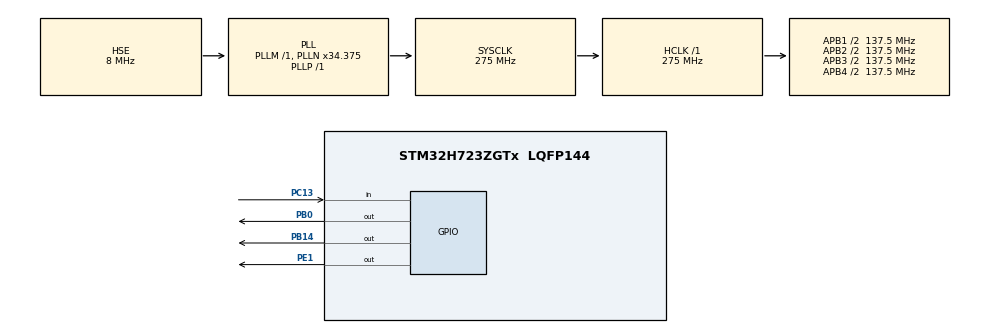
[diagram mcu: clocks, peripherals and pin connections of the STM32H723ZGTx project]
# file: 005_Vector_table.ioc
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CORTEX_M7.default_mode_Activation=1
Mcu.Family=STM32H7
Mcu.Name=STM32H723ZGTx
Mcu.Package=LQFP144
NUCLEO-H723ZG.BUTTON=1
NUCLEO-H723ZG.LD1=true
NUCLEO-H723ZG.LD2=true
NUCLEO-H723ZG.LD3=true
NUCLEO-H723ZG.VCP=true
NVIC.EXTI15_10_IRQn=true\:0\:0\:false\:false\:true\:false\:true\:true
NVIC.PriorityGroup=NVIC_PRIORITYGROUP_4
PA13(JTMS/SWDIO).GPIO_Label=SWDIO
PA13(JTMS/SWDIO).Signal=DEBUG_JTMS-SWDIO
PA14(JTCK/SWCLK).GPIO_Label=SWCLK
PA14(JTCK/SWCLK).Signal=DEBUG_JTCK-SWCLK
PB0.Signal=GPIO_Output
PB14.Signal=GPIO_Output
PC13.Signal=GPIO_Input
PC14-OSC32_IN.Signal=RCC_OSC32_IN
PC15-OSC32_OUT.Signal=RCC_OSC32_OUT
PD8.Signal=USART3_TX
PD9.Signal=USART3_RX
PE1.Signal=GPIO_Output
PH0-OSC_IN.Mode=HSE-External-Oscillator
PH0-OSC_IN.Signal=RCC_OSC_IN
PH1-OSC_OUT.Mode=HSE-External-Oscillator
PH1-OSC_OUT.Signal=RCC_OSC_OUT
ProjectManager.HeapSize=0x200
ProjectManager.StackSize=0x400
ProjectManager.TargetToolchain=STM32CubeIDE
RCC.ADCFreq_Value=76000000
RCC.APB1Freq_Value=137500000
RCC.APB2Freq_Value=137500000
RCC.APB3Freq_Value=137500000
RCC.APB4Freq_Value=137500000
RCC.CortexFreq_Value=275000000
RCC.D1PPRE=RCC_APB3_DIV2
RCC.D2PPRE1=RCC_APB1_DIV2
RCC.D2PPRE2=RCC_APB2_DIV2
RCC.D3PPRE=RCC_APB4_DIV2
RCC.DIVM1=1
RCC.DIVM2=1
RCC.DIVN1=34
RCC.DIVN2=19
RCC.DIVP1=1
RCC.DIVQ1=4
RCC.HCLKFreq_Value=275000000
RCC.HSE_VALUE=8000000
RCC.PLL2FRACN=0
RCC.PLL3FRACN=0
RCC.PLLFRACN=3072
RCC.PLLSourceVirtual=RCC_PLLSOURCE_HSE
RCC.SYSCLKFreq_VALUE=275000000
RCC.SYSCLKSource=RCC_SYSCLKSOURCE_PLLCLK
RCC.USBCLockSelection=RCC_USBCLKSOURCE_HSI48
RCC.USBFreq_Value=48000000
VP_MEMORYMAP_VS_MEMORYMAP.Mode=CurAppReg
VP_NUCLEO-H723ZG_VS_BSP_COMMON.Mode=COMMON
board=NUCLEO-H723ZG

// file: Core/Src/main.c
/* USER CODE BEGIN Header */
/**
  ******************************************************************************
  * @file           : main.c
  * @brief          : Main program body
  ******************************************************************************
  * @attention
  *
  * Copyright (c) 2025 STMicroelectronics.
  * All rights reserved.
  *
  * This software is licensed under terms that can be found in the LICENSE file
  * in the root directory of this software component.
  * If no LICENSE file comes with this software, it is provided AS-IS.
  *
  ******************************************************************************
  */
/* USER CODE END Header */
#include "main.h"

COM_InitTypeDef BspCOMInit;

void SystemClock_Config(void);
static void MPU_Config(void);
static void MX_GPIO_Init(void);

/* USER CODE BEGIN 0 */
typedef struct __attribute__((aligned(512), packed)) __vectable_t{

	/*****  Cortex-M Processor Exceptions Numbers *****************************************************************/

	uint32_t _estcak;
	uint32_t Reset_Handler;
	uint32_t NMI_Handler;			 /*!< 2 Non Maskable Interrupt  */
	uint32_t HardFault_Handler; 	/*!< 3 Cortex-M Hard Fault Interrupt*/
	uint32_t MemManage_Handler; 	/*!< 4 Cortex-M Memory Management Interrupt  */
	uint32_t BusFault_Handler; 		/*!< 5 Cortex-M Bus Fault Interrupt*/
	uint32_t UsageFault_Handler; 	/*!< 6 Cortex-M Usage Fault Interrupt */
	uint32_t reserved_1;
	uint32_t reserved_2;
	uint32_t reserved_3;
	uint32_t reserved_4;
	uint32_t SVC_Handler; 			/*!< 11 Cortex-M SV Call Interrupt */
	uint32_t DebugMon_Handler; 		/*!< 12 Cortex-M Debug Monitor Interrupt*/
	uint32_t reserved_5;
	uint32_t PendSV_Handler; 		/*!< 14 Cortex-M Pend SV Interrupt*/
	uint32_t SysTick_Handler; 		/*!< 15 Cortex-M System Tick Interrupt  */

	/******  STM32 specific Interrupt Numbers **********************************************************************/

	  uint32_t     WWDG_IRQHandler    ;                /* Window WatchDog              */
	  uint32_t     PVD_AVD_IRQHandler  ;               /* PVD/AVD through EXTI Line detection */
	  uint32_t     TAMP_STAMP_IRQHandler ;             /* Tamper and TimeStamps through the EXTI line */
	  uint32_t     RTC_WKUP_IRQHandler;                /* RTC Wakeup through the EXTI line */
	  uint32_t     FLASH_IRQHandler;                   /* FLASH                        */
	  uint32_t     RCC_IRQHandler   ;                  /* RCC                          */
	  uint32_t     EXTI0_IRQHandler ;                  /* EXTI Line0                   */
	  uint32_t     EXTI1_IRQHandler ;                  /* EXTI Line1                   */
	  uint32_t     EXTI2_IRQHandler  ;                 /* EXTI Line2                   */
	  uint32_t     EXTI3_IRQHandler ;                  /* EXTI Line3                   */
	  uint32_t     EXTI4_IRQHandler ;                  /* EXTI Line4                   */
	  uint32_t     DMA1_Stream0_IRQHandler ;           /* DMA1 Stream 0                */
	  uint32_t     DMA1_Stream1_IRQHandler ;           /* DMA1 Stream 1                */
	  uint32_t     DMA1_Stream2_IRQHandler ;           /* DMA1 Stream 2                */
	  uint32_t     DMA1_Stream3_IRQHandler ;           /* DMA1 Stream 3                */
	  uint32_t     DMA1_Stream4_IRQHandler ;           /* DMA1 Stream 4                */
	  uint32_t     DMA1_Stream5_IRQHandler;            /* DMA1 Stream 5                */
	  uint32_t     DMA1_Stream6_IRQHandler;            /* DMA1 Stream 6                */
	  uint32_t     ADC_IRQHandler  ;                   /* ADC1, ADC2 and ADC3s         */
	  uint32_t     FDCAN1_IT0_IRQHandler ;             /* FDCAN1 interrupt line 0      */
	  uint32_t     FDCAN2_IT0_IRQHandler ;             /* FDCAN2 interrupt line 0      */
	  uint32_t     FDCAN1_IT1_IRQHandler ;             /* FDCAN1 interrupt line 1      */
	  uint32_t     FDCAN2_IT1_IRQHandler ;             /* FDCAN2 interrupt line 1      */
	  uint32_t     EXTI9_5_IRQHandler  ;               /* External Line[9:5]s          */
	  uint32_t     TIM1_BRK_IRQHandler ;               /* TIM1 Break interrupt         */
	  uint32_t     TIM1_UP_IRQHandler ;                /* TIM1 Update interrupt        */
	  uint32_t     TIM1_TRG_COM_IRQHandler;            /* TIM1 Trigger and Commutation interrupt */
	  uint32_t     TIM1_CC_IRQHandler  ;               /* TIM1 Capture Compare         */
	  uint32_t     TIM2_IRQHandler  ;                  /* TIM2                         */
	  uint32_t     TIM3_IRQHandler  ;                  /* TIM3                         */
	  uint32_t     TIM4_IRQHandler ;                   /* TIM4                         */
	  uint32_t     I2C1_EV_IRQHandler ;                /* I2C1 Event                   */
	  uint32_t     I2C1_ER_IRQHandler ;                /* I2C1 Error                   */
	  uint32_t     I2C2_EV_IRQHandler ;                /* I2C2 Event                   */
	  uint32_t     I2C2_ER_IRQHandler ;                /* I2C2 Error                   */
	  uint32_t     SPI1_IRQHandler   ;                 /* SPI1                         */
	  uint32_t     SPI2_IRQHandler  ;                  /* SPI2                         */
	  uint32_t     USART1_IRQHandler ;                 /* USART1                       */
	  uint32_t     USART2_IRQHandler ;                 /* USART2                       */
	  uint32_t     USART3_IRQHandler  ;                /* USART3                       */
	  uint32_t     EXTI15_10_IRQHandler;               /* External Line[15:10]s        */
	  uint32_t     RTC_Alarm_IRQHandler  ;             /* RTC Alarm (A and B) through EXTI Line */
	  uint32_t     reserved_6            ;          /* Reserved                     */
	  uint32_t     TIM8_BRK_TIM12_IRQHandler  ;        /* TIM8 Break and TIM12         */
	  uint32_t     TIM8_UP_TIM13_IRQHandler ;          /* TIM8 Update and TIM13        */
	  uint32_t     TIM8_TRG_COM_TIM14_IRQHandler ;     /* TIM8 Trigger and Commutation and TIM14 */
	  uint32_t     TIM8_CC_IRQHandler    ;             /* TIM8 Capture Compare         */
	  uint32_t     DMA1_Stream7_IRQHandler;            /* DMA1 Stream7                 */
	  uint32_t     FMC_IRQHandler    ;                 /* FMC                          */
	  uint32_t     SDMMC1_IRQHandler ;                 /* SDMMC1                       */
	  uint32_t     TIM5_IRQHandler  ;                  /* TIM5                         */
	  uint32_t     SPI3_IRQHandler  ;                  /* SPI3                         */
	  uint32_t     UART4_IRQHandler ;                  /* UART4                        */
	  uint32_t     UART5_IRQHandler ;                  /* UART5                        */
	  uint32_t     TIM6_DAC_IRQHandler;               /* TIM6 and DAC1&2 underrun errors */
	  uint32_t     TIM7_IRQHandler      ;              /* TIM7                         */
	  uint32_t     DMA2_Stream0_IRQHandler ;          /* DMA2 Stream 0                */
	  uint32_t     DMA2_Stream1_IRQHandler ;           /* DMA2 Stream 1                */
	  uint32_t     DMA2_Stream2_IRQHandler ;           /* DMA2 Stream 2                */
	  uint32_t     DMA2_Stream3_IRQHandler   ;         /* DMA2 Stream 3                */
	  uint32_t     DMA2_Stream4_IRQHandler ;           /* DMA2 Stream 4                */
	  uint32_t     ETH_IRQHandler     ;                /* Ethernet                     */
	  uint32_t     ETH_WKUP_IRQHandler  ;              /* Ethernet Wakeup through EXTI line */
	  uint32_t     FDCAN_CAL_IRQHandler ;              /* FDCAN calibration unit interrupt*/
	  uint32_t     reserved_7     ;                             /* Reserved                     */
	  uint32_t     reserved_8   ;                               /* Reserved                     */
	  uint32_t     reserved_9   ;                              /* Reserved                     */
	  uint32_t     reserved_10    ;                              /* Reserved                     */
	  uint32_t     DMA2_Stream5_IRQHandler  ;          /* DMA2 Stream 5                */
	  uint32_t     DMA2_Stream6_IRQHandler ;           /* DMA2 Stream 6                */
	  uint32_t     DMA2_Stream7_IRQHandler   ;         /* DMA2 Stream 7                */
	  uint32_t     USART6_IRQHandler   ;               /* USART6                       */
	  uint32_t     I2C3_EV_IRQHandler ;                /* I2C3 event                   */
	  uint32_t     I2C3_ER_IRQHandler ;                /* I2C3 error                   */
	  uint32_t     OTG_HS_EP1_OUT_IRQHandler   ;       /* USB OTG HS End Point 1 Out   */
	  uint32_t     OTG_HS_EP1_IN_IRQHandler  ;         /* USB OTG HS End Point 1 In    */
	  uint32_t     OTG_HS_WKUP_IRQHandler   ;          /* USB OTG HS Wakeup through EXTI */
	  uint32_t     OTG_HS_IRQHandler    ;              /* USB OTG HS                   */
	  uint32_t     DCMI_PSSI_IRQHandler ;              /* DCMI, PSSI                   */
	  uint32_t     reserved_11     ;                             /* Reserved                     */
	  uint32_t     RNG_IRQHandler   ;                  /* Rng                          */
	  uint32_t     FPU_IRQHandler  ;                   /* FPU                          */
	  uint32_t     UART7_IRQHandler ;                  /* UART7                        */
	  uint32_t     UART8_IRQHandler ;                  /* UART8                        */
	  uint32_t     SPI4_IRQHandler ;                   /* SPI4                         */
	  uint32_t     SPI5_IRQHandler ;                   /* SPI5                         */
	  uint32_t     SPI6_IRQHandler  ;                  /* SPI6                         */
	  uint32_t     SAI1_IRQHandler ;                   /* SAI1                         */
	  uint32_t     LTDC_IRQHandler  ;                  /* LTDC                         */
	  uint32_t     LTDC_ER_IRQHandler;                 /* LTDC error                   */
	  uint32_t     DMA2D_IRQHandler  ;                 /* DMA2D                        */
	  uint32_t     reserved_12       ;                           /* Reserved                     */
	  uint32_t     OCTOSPI1_IRQHandler;                /* OCTOSPI1                     */
	  uint32_t     LPTIM1_IRQHandler;                  /* LPTIM1                       */
	  uint32_t     CEC_IRQHandler  ;                   /* HDMI_CEC                     */
	  uint32_t     I2C4_EV_IRQHandler;                /* I2C4 Event                   */
	  uint32_t     I2C4_ER_IRQHandler;                 /* I2C4 Error                   */
	  uint32_t     SPDIF_RX_IRQHandler   ;             /* SPDIF_RX                     */
	  uint32_t     reserved_13              ;                     /* Reserved                     */
	  uint32_t     reserved_14            ;                       /* Reserved                     */
	  uint32_t     reserved_15             ;                      /* Reserved                     */
	  uint32_t     reserved_16               ;                    /* Reserved                     */
	  uint32_t     DMAMUX1_OVR_IRQHandler  ;           /* DMAMUX1 Overrun interrupt    */
	  uint32_t     reserved_17            ;                       /* Reserved                     */
	  uint32_t     reserved_18            ;                       /* Reserved                     */
	  uint32_t     reserved_19             ;                      /* Reserved                     */
	  uint32_t     reserved_20             ;                      /* Reserved                     */
	  uint32_t     reserved_21            ;                       /* Reserved                     */
	  uint32_t     reserved_22            ;                       /* Reserved                     */
	  uint32_t     reserved_23            ;                       /* Reserved                     */
	  uint32_t     DFSDM1_FLT0_IRQHandler   ;          /* DFSDM Filter0 Interrupt      */
	  uint32_t     DFSDM1_FLT1_IRQHandler  ;           /* DFSDM Filter1 Interrupt      */
	  uint32_t     DFSDM1_FLT2_IRQHandler  ;           /* DFSDM Filter2 Interrupt      */
	  uint32_t     DFSDM1_FLT3_IRQHandler   ;          /* DFSDM Filter3 Interrupt      */
	  uint32_t     reserved_24                 ;                 /* Reserved                     */
	  uint32_t     SWPMI1_IRQHandler   ;               /* Serial Wire Interface 1 global interrupt */
	  uint32_t     TIM15_IRQHandler  ;                 /* TIM15 global Interrupt          */
	  uint32_t     TIM16_IRQHandler  ;                 /* TIM16 global Interrupt          */
	  uint32_t     TIM17_IRQHandler  ;                 /* TIM17 global Interrupt          */
	  uint32_t     MDIOS_WKUP_IRQHandler ;             /* MDIOS Wakeup  Interrupt         */
	  uint32_t     MDIOS_IRQHandler   ;                /* MDIOS global Interrupt          */
	  uint32_t     reserved_25             ;                     /* Reserved                        */
	  uint32_t     MDMA_IRQHandler   ;                 /* MDMA global Interrupt           */
	  uint32_t     reserved_26         ;                         /* Reserved                        */
	  uint32_t     SDMMC2_IRQHandler ;                 /* SDMMC2 global Interrupt         */
	  uint32_t     HSEM1_IRQHandler ;                  /* HSEM1 global Interrupt          */
	  uint32_t     reserved_27             ;                     /* Reserved                        */
	  uint32_t     ADC3_IRQHandler    ;                /* ADC3 global Interrupt           */
	  uint32_t     DMAMUX2_OVR_IRQHandler;            /* DMAMUX Overrun interrupt        */
	  uint32_t     BDMA_Channel0_IRQHandler;           /* BDMA Channel 0 global Interrupt */
	  uint32_t     BDMA_Channel1_IRQHandler ;          /* BDMA Channel 1 global Interrupt */
	  uint32_t     BDMA_Channel2_IRQHandler ;          /* BDMA Channel 2 global Interrupt */
	  uint32_t     BDMA_Channel3_IRQHandler ;          /* BDMA Channel 3 global Interrupt */
	  uint32_t     BDMA_Channel4_IRQHandler ;          /* BDMA Channel 4 global Interrupt */
	  uint32_t     BDMA_Channel5_IRQHandler ;          /* BDMA Channel 5 global Interrupt */
	  uint32_t     BDMA_Channel6_IRQHandler  ;         /* BDMA Channel 6 global Interrupt */
	  uint32_t     BDMA_Channel7_IRQHandler   ;        /* BDMA Channel 7 global Interrupt */
	  uint32_t     COMP1_IRQHandler  ;                 /* COMP1 global Interrupt          */
	  uint32_t     LPTIM2_IRQHandler ;                 /* LP TIM2 global interrupt        */
	  uint32_t     LPTIM3_IRQHandler ;                 /* LP TIM3 global interrupt        */
	  uint32_t     LPTIM4_IRQHandler ;                 /* LP TIM4 global interrupt        */
	  uint32_t     LPTIM5_IRQHandler ;                 /* LP TIM5 global interrupt        */
	  uint32_t     LPUART1_IRQHandler ;                /* LP UART1 interrupt              */
	  uint32_t     reserved_28      ;                            /* Reserved                        */
	  uint32_t     CRS_IRQHandler ;                    /* Clock Recovery Global Interrupt */
	  uint32_t     ECC_IRQHandler ;                    /* ECC diagnostic Global Interrupt */
	  uint32_t     SAI4_IRQHandler ;                   /* SAI4 global interrupt           */
	  uint32_t     DTS_IRQHandler  ;                   /* Digital Temperature Sensor  interrupt */
	  uint32_t     reserved_29     ;                             /* Reserved                              */
	  uint32_t     WAKEUP_PIN_IRQHandler  ;            /* Interrupt for all 6 wake-up pins      */
	  uint32_t     OCTOSPI2_IRQHandler  ;              /* OCTOSPI2 Interrupt       */
	  uint32_t     reserved_30               ;                   /* Reserved                 */
	  uint32_t     reserved_31             ;                     /* Reserved                 */
	  uint32_t     FMAC_IRQHandler   ;                 /* FMAC Interrupt           */
	  uint32_t     CORDIC_IRQHandler;                  /* CORDIC Interrupt         */
	  uint32_t     UART9_IRQHandler;                   /* UART9 Interrupt          */
	  uint32_t     USART10_IRQHandler;                 /* UART10 Interrupt         */
	  uint32_t     I2C5_EV_IRQHandler ;                /* I2C5 Event Interrupt     */
	  uint32_t     I2C5_ER_IRQHandler  ;               /* I2C5 Error Interrupt     */
	  uint32_t     FDCAN3_IT0_IRQHandler ;             /* FDCAN3 interrupt line 0  */
	  uint32_t     FDCAN3_IT1_IRQHandler ;             /* FDCAN3 interrupt line 1  */
	  uint32_t     TIM23_IRQHandler  ;                 /* TIM23 global interrupt   */
	  uint32_t     TIM24_IRQHandler     ;              /* TIM24 global interrupt   */

}vectable_t;
__attribute__((section(".dtcm_vectable"))) __IO  vectable_t ram_table;

uint32_t custom_uwTick = 0;
 volatile __attribute__((aligned(4))) void custom_handler(void){

	 custom_uwTick ++;
}

 void set_systic_handler(void){

   memcpy((void*)&ram_table, (void*)0x08000000, sizeof(ram_table));

   SCB->VTOR = (uint32_t)&ram_table;
   __DSB();
   __ISB();

   ram_table.SysTick_Handler  = (uint32_t) custom_handler;
   __NOP();
 }
/* USER CODE END 0 */

int main(void)
{

  /* USER CODE BEGIN 1 */
	set_systic_handler();

  /* USER CODE END 1 */

  /* MPU Configuration--------------------------------------------------------*/
  MPU_Config();

  /* MCU Configuration--------------------------------------------------------*/

  /* Reset of all peripherals, Initializes the Flash interface and the Systick. */
  HAL_Init();

  /* Configure the system clock */
  SystemClock_Config();

  /* Initialize all configured peripherals */
  MX_GPIO_Init();

  /* Initialize leds */
  BSP_LED_Init(LED_GREEN);
  BSP_LED_Init(LED_YELLOW);
  BSP_LED_Init(LED_RED);

  /* Initialize USER push-button, will be used to trigger an interrupt each time it's pressed.*/
  BSP_PB_Init(BUTTON_USER, BUTTON_MODE_EXTI);

  /* Initialize COM1 port (115200, 8 bits (7-bit data + 1 stop bit), no parity */
  BspCOMInit.BaudRate   = 115200;
  BspCOMInit.WordLength = COM_WORDLENGTH_8B;
  BspCOMInit.StopBits   = COM_STOPBITS_1;
  BspCOMInit.Parity     = COM_PARITY_NONE;
  BspCOMInit.HwFlowCtl  = COM_HWCONTROL_NONE;
  if (BSP_COM_Init(COM1, &BspCOMInit) != BSP_ERROR_NONE)
  {
    Error_Handler();
  }

  /* Infinite loop */
  while (1)
  {

  }
}

void SystemClock_Config(void)
{
  RCC_OscInitTypeDef RCC_OscInitStruct = {0};
  RCC_ClkInitTypeDef RCC_ClkInitStruct = {0};

  /** Supply configuration update enable
  */
  HAL_PWREx_ConfigSupply(PWR_LDO_SUPPLY);

  /** Configure the main internal regulator output voltage
  */
  __HAL_PWR_VOLTAGESCALING_CONFIG(PWR_REGULATOR_VOLTAGE_SCALE0);

  while(!__HAL_PWR_GET_FLAG(PWR_FLAG_VOSRDY)) {}

  /** Initializes the RCC Oscillators according to the specified parameters
  * in the RCC_OscInitTypeDef structure.
  */
  RCC_OscInitStruct.OscillatorType = RCC_OSCILLATORTYPE_HSE;
  RCC_OscInitStruct.HSEState = RCC_HSE_ON;
  RCC_OscInitStruct.PLL.PLLState = RCC_PLL_ON;
  RCC_OscInitStruct.PLL.PLLSource = RCC_PLLSOURCE_HSE;
  RCC_OscInitStruct.PLL.PLLM = 1;
  RCC_OscInitStruct.PLL.PLLN = 34;
  RCC_OscInitStruct.PLL.PLLP = 1;
  RCC_OscInitStruct.PLL.PLLQ = 4;
  RCC_OscInitStruct.PLL.PLLR = 2;
  RCC_OscInitStruct.PLL.PLLRGE = RCC_PLL1VCIRANGE_3;
  RCC_OscInitStruct.PLL.PLLVCOSEL = RCC_PLL1VCOWIDE;
  RCC_OscInitStruct.PLL.PLLFRACN = 3072;
  if (HAL_RCC_OscConfig(&RCC_OscInitStruct) != HAL_OK)
  {
    Error_Handler();
  }

  /** Initializes the CPU, AHB and APB buses clocks
  */
  RCC_ClkInitStruct.ClockType = RCC_CLOCKTYPE_HCLK|RCC_CLOCKTYPE_SYSCLK
                              |RCC_CLOCKTYPE_PCLK1|RCC_CLOCKTYPE_PCLK2
                              |RCC_CLOCKTYPE_D3PCLK1|RCC_CLOCKTYPE_D1PCLK1;
  RCC_ClkInitStruct.SYSCLKSource = RCC_SYSCLKSOURCE_PLLCLK;
  RCC_ClkInitStruct.SYSCLKDivider = RCC_SYSCLK_DIV1;
  RCC_ClkInitStruct.AHBCLKDivider = RCC_HCLK_DIV1;
  RCC_ClkInitStruct.APB3CLKDivider = RCC_APB3_DIV2;
  RCC_ClkInitStruct.APB1CLKDivider = RCC_APB1_DIV2;
  RCC_ClkInitStruct.APB2CLKDivider = RCC_APB2_DIV2;
  RCC_ClkInitStruct.APB4CLKDivider = RCC_APB4_DIV2;

  if (HAL_RCC_ClockConfig(&RCC_ClkInitStruct, FLASH_LATENCY_3) != HAL_OK)
  {
    Error_Handler();
  }
}

static void MX_GPIO_Init(void)
{

  /* GPIO Ports Clock Enable */
  __HAL_RCC_GPIOC_CLK_ENABLE();
  __HAL_RCC_GPIOH_CLK_ENABLE();
  __HAL_RCC_GPIOA_CLK_ENABLE();

}

 /* MPU Configuration */

void MPU_Config(void)
{
  MPU_Region_InitTypeDef MPU_InitStruct = {0};

  /* Disables the MPU */
  HAL_MPU_Disable();

  /** Initializes and configures the Region and the memory to be protected
  */
  MPU_InitStruct.Enable = MPU_REGION_ENABLE;
  MPU_InitStruct.Number = MPU_REGION_NUMBER0;
  MPU_InitStruct.BaseAddress = 0x0;
  MPU_InitStruct.Size = MPU_REGION_SIZE_4GB;
  MPU_InitStruct.SubRegionDisable = 0x87;
  MPU_InitStruct.TypeExtField = MPU_TEX_LEVEL0;
  MPU_InitStruct.AccessPermission = MPU_REGION_NO_ACCESS;
  MPU_InitStruct.DisableExec = MPU_INSTRUCTION_ACCESS_DISABLE;
  MPU_InitStruct.IsShareable = MPU_ACCESS_SHAREABLE;
  MPU_InitStruct.IsCacheable = MPU_ACCESS_NOT_CACHEABLE;
  MPU_InitStruct.IsBufferable = MPU_ACCESS_NOT_BUFFERABLE;

  HAL_MPU_ConfigRegion(&MPU_InitStruct);
  /* Enables the MPU */
  HAL_MPU_Enable(MPU_PRIVILEGED_DEFAULT);

}

void Error_Handler(void)
{
  __disable_irq();
  while (1)
  {
  }
}
